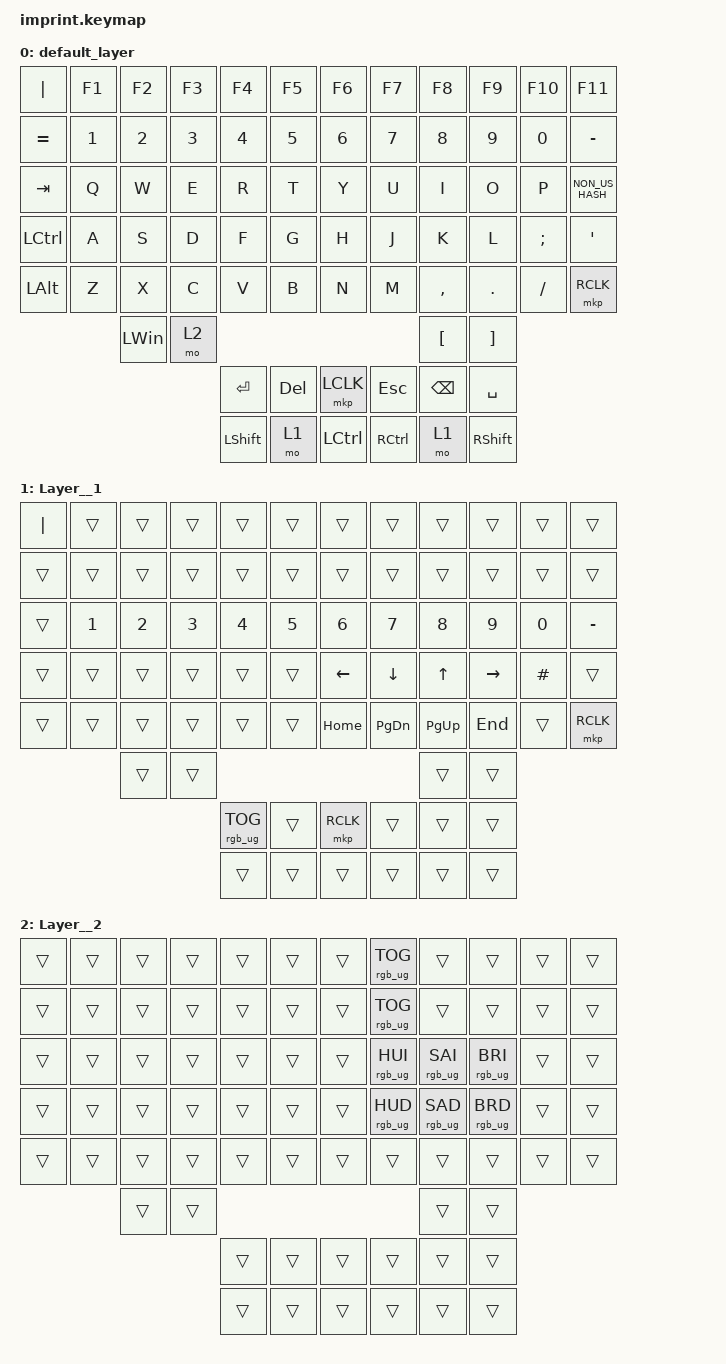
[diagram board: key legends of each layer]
#include <input/processors.dtsi>
#include <dt-bindings/zmk/input_transform.h>
#include <behaviors.dtsi>
#include <dt-bindings/zmk/bt.h>
#include <dt-bindings/zmk/keys.h>
#include <dt-bindings/zmk/pointing.h>
#include <dt-bindings/zmk/rgb.h>

/ {
    chosen { zmk,matrix-transform = &imprint_function_row; };

    keymap {
        compatible = "zmk,keymap";

        default_layer {
            bindings = <
&kp PIPE      &kp F1  &kp F2        &kp F3  &kp F4          &kp F5                &kp F6      &kp F7    &kp F8           &kp F9    &kp F10   &kp F11
&kp EQUAL     &kp N1  &kp NUMBER_2  &kp N3  &kp N4          &kp N5                &kp N6      &kp N7    &kp N8           &kp N9    &kp N0    &kp MINUS
&kp TAB       &kp Q   &kp W         &kp E   &kp R           &kp T                 &kp Y       &kp U     &kp I            &kp O     &kp P     &kp NON_US_HASH
&kp LCTRL     &kp A   &kp S         &kp D   &kp F           &kp G                 &kp H       &kp J     &kp K            &kp L     &kp SEMI  &kp SQT
&kp LEFT_ALT  &kp Z   &kp X         &kp C   &kp V           &kp B                 &kp N       &kp M     &kp COMMA        &kp DOT   &kp FSLH  &mkp RCLK
                      &kp LEFT_WIN  &mo 2                                                               &kp LBKT         &kp RBKT
                                            &kp RET         &kp DEL  &mkp LCLK    &kp ESCAPE  &kp BSPC  &kp SPACE
                                            &kp LEFT_SHIFT  &mo 1    &kp LCTRL    &kp RCTRL   &mo 1     &kp RIGHT_SHIFT
            >;
        };

        Layer__1 {
            bindings = <
&kp PIPE  &trans        &trans        &trans        &trans           &trans               &trans        &trans         &trans        &trans        &trans    &trans
&trans    &trans        &trans        &trans        &trans           &trans               &trans        &trans         &trans        &trans        &trans    &trans
&trans    &kp NUMBER_1  &kp NUMBER_2  &kp NUMBER_3  &kp NUMBER_4     &kp N5               &kp NUMBER_6  &kp N7         &kp N8        &kp NUMBER_9  &kp N0    &kp MINUS
&trans    &trans        &trans        &trans        &trans           &trans               &kp LEFT      &kp DOWN       &kp UP_ARROW  &kp RIGHT     &kp HASH  &trans
&trans    &trans        &trans        &trans        &trans           &trans               &kp HOME      &kp PAGE_DOWN  &kp PAGE_UP   &kp END       &trans    &mkp RCLK
                        &trans        &trans                                                                           &trans        &trans
                                                    &rgb_ug RGB_TOG  &trans  &mkp RCLK    &trans        &trans         &trans
                                                    &trans           &trans  &trans       &trans        &trans         &trans
            >;
        };

        Layer__2 {
            bindings = <
&trans  &trans  &trans  &trans  &trans  &trans            &trans  &rgb_ug RGB_TOG  &trans           &trans           &trans  &trans
&trans  &trans  &trans  &trans  &trans  &trans            &trans  &rgb_ug RGB_TOG  &trans           &trans           &trans  &trans
&trans  &trans  &trans  &trans  &trans  &trans            &trans  &rgb_ug RGB_HUI  &rgb_ug RGB_SAI  &rgb_ug RGB_BRI  &trans  &trans
&trans  &trans  &trans  &trans  &trans  &trans            &trans  &rgb_ug RGB_HUD  &rgb_ug RGB_SAD  &rgb_ug RGB_BRD  &trans  &trans
&trans  &trans  &trans  &trans  &trans  &trans            &trans  &trans           &trans           &trans           &trans  &trans
                &trans  &trans                                                     &trans           &trans
                                &trans  &trans  &trans    &trans  &trans           &trans
                                &trans  &trans  &trans    &trans  &trans           &trans
            >;
        };
    };
};

//right hand trackball configuration

&trackball_peripheral_listener {
    input-processors =
        // this gets it to the default installation orientation,,,,,,,
        // <&zip_xy_transform INPUT_TRANSFORM_XY_SWAP>,,,,
        <&zip_xy_scaler 1 3>;

    // activate layer 3 within 500ms of the trackball moving
    // <&zip_temp_layer 3 500>;
};

//left hand trackball configuration

&trackball_central_listener {
    input-processors =
        // this gets it to the default installation orientation,,,,,,,
        <&zip_xy_transform INPUT_TRANSFORM_XY_SWAP>,
        // multiply sensitivity by 1, divide by 3 (make it slower for scrolling),,,,,,,
        <&zip_xy_scaler 1 10>,
        // make this trackball output scrolling events by default instead of cursor movement,,,,,,,
        <&zip_xy_to_scroll_mapper>,
        // invert vertical scrolling so that the view moves in the same direction as the top of the trackball.,,,,,,,
        <&zip_scroll_transform INPUT_TRANSFORM_Y_INVERT>;
};
